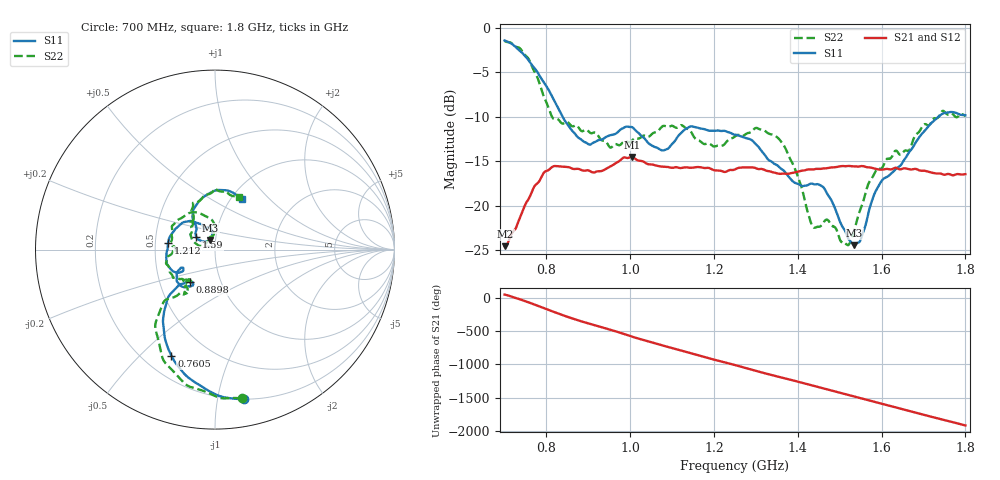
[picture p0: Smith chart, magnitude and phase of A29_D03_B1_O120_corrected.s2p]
! Created with skrf 1.9.0 (http://scikit-rf.org).
# Hz S RI R 50.0
!freq ReS11 ImS11 ReS21 ImS21 ReS12 ImS12 ReS22 ImS22
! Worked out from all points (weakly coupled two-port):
!   1601 points, 700 MHz to 1.8 GHz, reference 50 ohm
!   highest |S21| = -14.53 dB at 1.005 GHz (marker M1); lowest = -24.6 dB at 701.4 MHz (marker M2)
!   lowest |S11| = -24.5 dB at 1.535 GHz (marker M3), VSWR 1.13, Z = 47.2 + j5.08 ohm
!   |S11| at or under -10 dB: 838.5 MHz to 1.736 GHz (897.1 MHz wide, 69.7 % of centre)
!   |S22| runs from -24.5 to -1.5 dB; largest |S21 - S12| = 0.0036
!   S11 on the Smith chart (normalised r, x): 700 MHz: 0.20, -1.19; 760.5 MHz: 0.31, -0.62; 889.8 MHz: 0.71, -0.27; 1.212 GHz: 0.58, +0.05; 1.59 GHz: 0.80, +0.11; 1.8 GHz: 1.12, +0.71
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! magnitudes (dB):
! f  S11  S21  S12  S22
! 700 MHz  -1.4  -24.6  -24.3  -1.5
! 701.4 MHz  -1.4  -24.6  -24.2  -1.5
! 760.5 MHz  -3.9  -19.0  -18.8  -3.8
! 814.8 MHz  -7.9  -15.6  -15.7  -10.1
! 883.6 MHz  -12.6  -16.0  -15.9  -11.6
! 889.8 MHz  -12.8  -16.1  -16.0  -11.5
! 953 MHz  -12.1  -15.6  -15.6  -13.5
! 1.005 GHz  -11.2  -14.5  -14.7  -12.7
! 1.067 GHz  -13.6  -15.6  -15.5  -11.6
! 1.143 GHz  -11.1  -15.7  -15.7  -11.5
! 1.212 GHz  -11.6  -16.1  -16.0  -13.2
! 1.25 GHz  -12.0  -15.9  -15.8  -12.2
! 1.357 GHz  -15.7  -16.4  -16.4  -12.6
! 1.396 GHz  -17.5  -16.2  -16.2  -16.3
! 1.434 GHz  -17.5  -15.9  -15.9  -22.2
! 1.464 GHz  -18.1  -15.8  -15.8  -21.7
! 1.517 GHz  -23.4  -15.5  -15.6  -24.4
! 1.535 GHz  -24.5  -15.6  -15.6  -22.8
! 1.59 GHz  -18.0  -15.9  -15.9  -15.9
! 1.617 GHz  -16.6  -15.9  -15.9  -14.7
! 1.738 GHz  -9.9  -16.4  -16.4  -9.9
! 1.8 GHz  -9.8  -16.5  -16.5  -9.9
